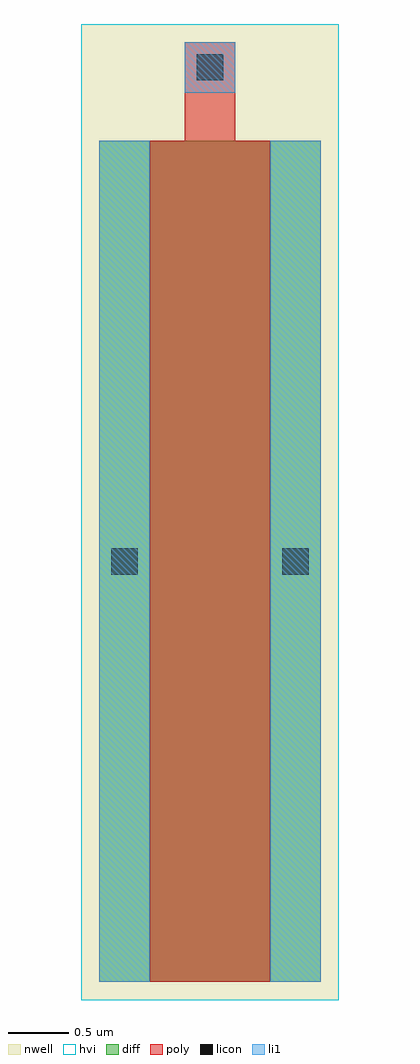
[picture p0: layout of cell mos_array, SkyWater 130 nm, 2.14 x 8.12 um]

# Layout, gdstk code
import gdstk
lib = gdstk.Library(unit=1e-6, precision=1e-09)
def R(c, l, rs):  # rectangles x0, y0, x1, y1
    for r in rs: c.add(gdstk.rectangle(r[:2], r[2:], *l))
nwell = (64, 20)
diff = (65, 20)
poly = (66, 20)
licon = (66, 44)
li1 = (67, 20)
hvi = (75, 20)

mos_array = lib.new_cell('mos_array')
R(mos_array, nwell, [(-0.15,-0.15,1.99,7.97)])
R(mos_array, diff, [(0,0,1.84,7)])
R(mos_array, poly, [(0.42,0,1.42,7), (0.71,7,1.13,7.82)])
R(mos_array, licon, [(0.1,3.39,0.32,3.61), (1.52,3.39,1.74,3.61), (0.81,7.5,1.03,7.72)])
R(mos_array, li1, [(0,0,0.42,7), (1.42,0,1.84,7), (0.71,7.4,1.13,7.82)])
R(mos_array, hvi, [(-0.15,-0.15,1.99,7.97)])

lib.write_gds('mos_array.gds')
